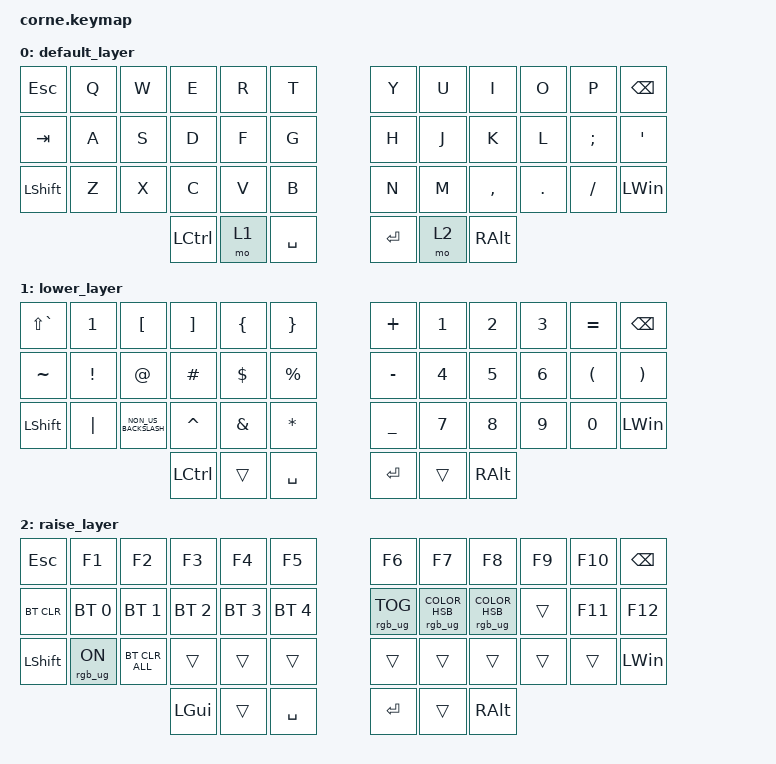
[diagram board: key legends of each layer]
/*
 * Copyright (c) 2020 The ZMK Contributors
 *
 * SPDX-License-Identifier: MIT
 */

#include <behaviors.dtsi>
#include <dt-bindings/zmk/bt.h>
#include <dt-bindings/zmk/keys.h>
#include <dt-bindings/zmk/rgb.h>

/ {
    keymap {
        compatible = "zmk,keymap";

        default_layer {
            // -----------------------------------------------------------------------------------------
            // |  TAB |  Q  |  W  |  E  |  R  |  T  |   |  Y  |  U   |  I  |  O  |  P  | BSPC |
            // | CTRL |  A  |  S  |  D  |  F  |  G  |   |  H  |  J   |  K  |  L  |  ;  |  '   |
            // | SHFT |  Z  |  X  |  C  |  V  |  B  |   |  N  |  M   |  ,  |  .  |  /  | ESC  |
            //                    | GUI | LWR | SPC |   | ENT | RSE  | ALT |

            bindings = <
&kp ESC    &kp Q  &kp W  &kp E             &kp R  &kp T        &kp Y    &kp U  &kp I      &kp O    &kp P     &kp BSPC
&kp TAB    &kp A  &kp S  &kp D             &kp F  &kp G        &kp H    &kp J  &kp K      &kp L    &kp SEMI  &kp SQT
&kp LSHFT  &kp Z  &kp X  &kp C             &kp V  &kp B        &kp N    &kp M  &kp COMMA  &kp DOT  &kp FSLH  &kp LEFT_WIN
                         &kp LEFT_CONTROL  &mo 1  &kp SPACE    &kp RET  &mo 2  &kp RALT
            >;
        };

        lower_layer {
            // -----------------------------------------------------------------------------------------
            // |  TAB |  1  |  2  |  3  |  4  |  5  |   |  6  |  7  |  8  |  9  |  0  | BSPC |
            // | BTCLR| BT1 | BT2 | BT3 | BT4 | BT5 |   | LFT | DWN |  UP | RGT |     |      |
            // | SHFT |     |     |     |     |     |   |     |     |     |     |     |      |
            //                    | GUI |     | SPC |   | ENT |     | ALT |

            bindings = <
&kp LS(GRAVE)  &kp N1           &kp LEFT_BRACKET      &kp RIGHT_BRACKET  &kp LEFT_BRACE  &kp RIGHT_BRACE    &kp PLUS        &kp NUMBER_1  &kp NUMBER_2  &kp NUMBER_3  &kp EQUAL             &kp BSPC
&kp TILDE      &kp EXCLAMATION  &kp AT_SIGN           &kp HASH           &kp DOLLAR      &kp PERCENT        &kp MINUS       &kp NUMBER_4  &kp N5        &kp NUMBER_6  &kp LEFT_PARENTHESIS  &kp RIGHT_PARENTHESIS
&kp LSHFT      &kp PIPE         &kp NON_US_BACKSLASH  &kp CARET          &kp AMPERSAND   &kp ASTERISK       &kp UNDERSCORE  &kp N7        &kp N8        &kp N9        &kp N0                &kp LEFT_WIN
                                                      &kp LEFT_CONTROL   &trans          &kp SPACE          &kp RET         &trans        &kp RALT
            >;
        };

        raise_layer {
            // -----------------------------------------------------------------------------------------
            // |  TAB |  !  |  @  |  #  |  $  |  %  |   |  ^  |  &  |  *  |  (  |  )  | BSPC |
            // | CTRL |     |     |     |     |     |   |  -  |  =  |  [  |  ]  |  \  |  `   |
            // | SHFT |     |     |     |     |     |   |  _  |  +  |  {  |  }  | "|" |  ~   |
            //                    | GUI |     | SPC |   | ENT |     | ALT |

            bindings = <
&kp ESCAPE  &kp F1          &kp F2          &kp F3        &kp F4        &kp F5          &kp F6           &kp F7                            &kp F8                            &kp F9  &kp F10  &kp BSPC
&bt BT_CLR  &bt BT_SEL 0    &bt BT_SEL 1    &bt BT_SEL 2  &bt BT_SEL 3  &bt BT_SEL 4    &rgb_ug RGB_TOG  &rgb_ug RGB_COLOR_HSB(112,75,19)  &rgb_ug RGB_COLOR_HSB(28,100,31)  &trans  &kp F11  &kp F12
&kp LSHFT   &rgb_ug RGB_ON  &bt BT_CLR_ALL  &trans        &trans        &trans          &trans           &trans                            &trans                            &trans  &trans   &kp LEFT_WIN
                                            &kp LGUI      &trans        &kp SPACE       &kp RET          &trans                            &kp RALT
            >;
        };
    };
};
